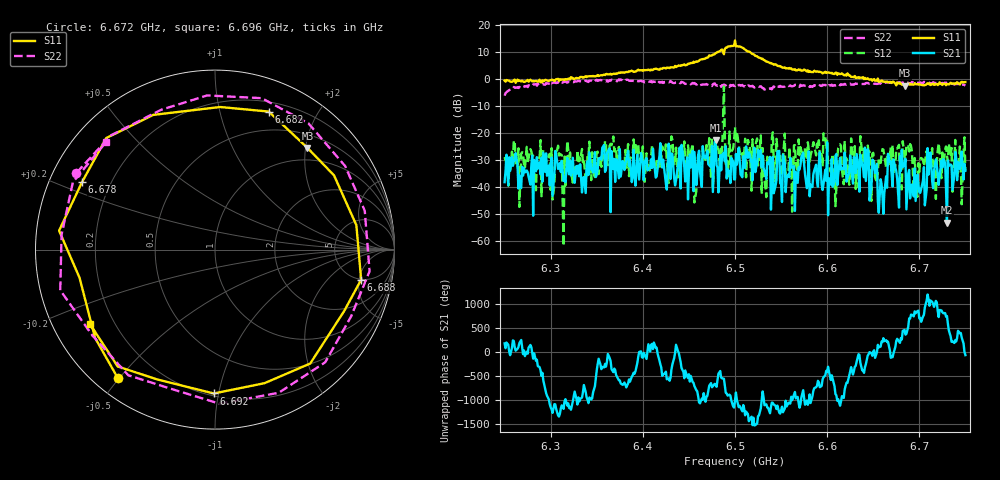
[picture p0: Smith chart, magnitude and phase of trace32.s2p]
# Hz S RI R 50
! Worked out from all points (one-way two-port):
!   401 points, 6.25 GHz to 6.75 GHz, reference 50 ohm
!   highest |S21| = -22.74 dB at 6.479 GHz (marker M1); lowest = -53.3 dB at 6.73 GHz (marker M2)
!   lowest |S11| = -2.3 dB at 6.684 GHz (marker M3), VSWR 7.54, Z = 37.2 + j102 ohm
!   |S11| at or under -10 dB: nowhere
!   |S22| runs from -6.1 to 0.0 dB; largest |S21 - S12| = 0.76
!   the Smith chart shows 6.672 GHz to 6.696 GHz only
!   S11 on the Smith chart (normalised r, x): 6.672 GHz: 0.07, -0.49; 6.678 GHz: 0.10, +0.24; 6.682 GHz: 0.29, +1.42; 6.688 GHz: 4.93, -5.36; 6.692 GHz: 0.22, -0.97; 6.696 GHz: 0.11, -0.27
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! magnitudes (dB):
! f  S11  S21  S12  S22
! 6.25 GHz  -0.5  -38.2  -28.8  -6.1
! 6.334 GHz  0.9  -42.0  -25.9  -1.0
! 6.418 GHz  3.5  -28.4  -31.0  -1.2
! 6.458 GHz  6.6  -39.3  -41.5  -1.9
! 6.479 GHz  9.7  -22.7  -22.8  -2.2
! 6.5 GHz  14.4  -37.2  -17.8  -2.5
! 6.531 GHz  7.2  -33.1  -32.1  -3.3
! 6.584 GHz  2.7  -40.0  -25.6  -2.8
! 6.599 GHz  2.4  -37.7  -26.0  -2.3
! 6.608 GHz  2.0  -38.0  -36.3  -2.2
! 6.642 GHz  0.1  -37.8  -34.6  -1.4
! 6.659 GHz  -0.4  -38.7  -28.2  -1.8
! 6.668 GHz  -0.9  -30.7  -30.7  -1.3
! 6.672 GHz  -0.9  -29.8  -34.9  -1.1
! 6.678 GHz  -1.6  -47.7  -24.4  -1.1
! 6.682 GHz  -1.7  -32.6  -23.0  -1.2
! 6.684 GHz  -2.3  -31.7  -28.7  -1.5
! 6.688 GHz  -1.6  -35.1  -24.5  -1.3
! 6.692 GHz  -1.9  -39.1  -26.9  -1.0
! 6.696 GHz  -1.8  -45.2  -36.3  -1.4
! 6.73 GHz  -1.8  -53.3  -28.4  -1.5
! 6.75 GHz  -1.0  -33.9  -33.9  -2.4
